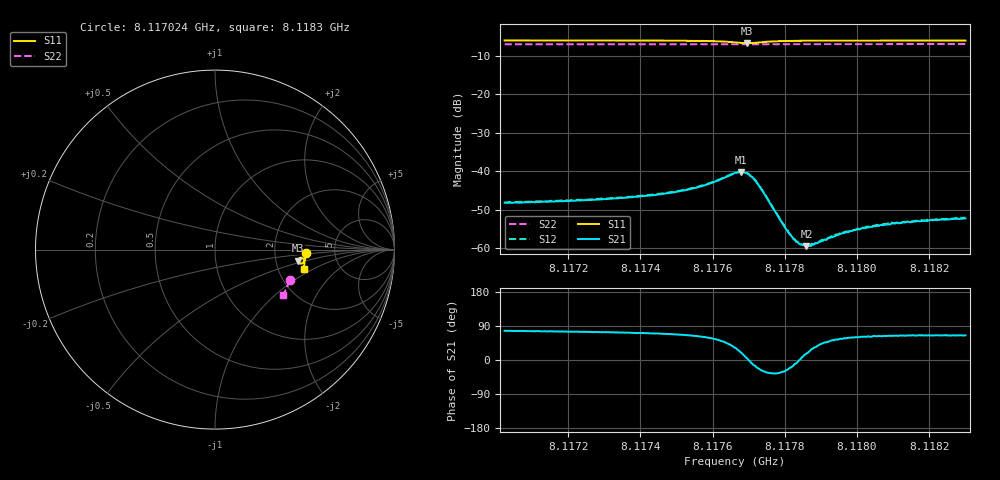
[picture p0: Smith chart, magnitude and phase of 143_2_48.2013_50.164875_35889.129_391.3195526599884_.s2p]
#  HZ  S  RI  R  50.00
! Rohde & Schwarz Vector Network Analyzer
! Rohde-Schwarz,ZNB20-2Port,1311601062101988,3.16
! Created: UTC 3/20/2024, 11:42:29 AM
! freq[Hz]  re:S11  im:S11  re:S21  im:S21  re:S12  im:S12  re:S22  im:S22
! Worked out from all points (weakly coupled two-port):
!   401 points, 8.117024 GHz to 8.1183 GHz, reference 50 ohm
!   highest |S21| = -40.23 dB at 8.117678 GHz (marker M1); lowest = -59.6 dB at 8.11786 GHz (marker M2)
!   lowest |S11| = -6.6 dB at 8.117694 GHz (marker M3), VSWR 2.74, Z = 133 - j20.8 ohm
!   |S11| at or under -10 dB: nowhere
!   |S22| runs from -6.9 to -6.9 dB; largest |S21 - S12| = 0.00029
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8.1170243e9  0.5058 -0.019  0.000874 0.00378  0.000923 0.00382  0.4171 -0.1711
8.117238e9  0.5043 -0.0363  0.00112 0.00402  0.00119 0.00406  0.4116 -0.185
8.117356e9  0.5029 -0.0463  0.00139 0.00429  0.00146 0.00432  0.4084 -0.1928
8.1174517e9  0.5011 -0.0555  0.00174 0.00467  0.0018 0.00477  0.4056 -0.199
8.1174996e9  0.4994 -0.0605  0.00206 0.00498  0.00212 0.00505  0.4044 -0.2021
8.1175602e9  0.4959 -0.0681  0.00284 0.0055  0.00295 0.00559  0.4025 -0.2059
8.1176016e9  0.4907 -0.074  0.00398 0.00595  0.00407 0.00601  0.401 -0.2085
8.1176622e9  0.4714 -0.0768  0.00808 0.0051  0.00814 0.00505  0.3983 -0.2122
8.1176782e9  0.4645 -0.071  0.00912 0.00342  0.00934 0.0033  0.3975 -0.2129
8.1176941e9  0.4616 -0.0611  0.00946 0.000912  0.00954 0.000758  0.3974 -0.2132
8.1177133e9  0.4667 -0.0496  0.00783 -0.00182  0.00791 -0.00177  0.397 -0.214
8.117726e9  0.4734 -0.0459  0.00631 -0.00247  0.00629 -0.00257  0.3968 -0.2146
8.117793e9  0.4941 -0.0541  0.0018 -0.0011  0.00183 -0.00112  0.3957 -0.2192
8.1178185e9  0.4963 -0.0586  0.00134 -0.000457  0.00137 -0.000471  0.3951 -0.221
8.1178408e9  0.4975 -0.0622  0.00113 5.21e-06  0.00113 -9.15e-06  0.3945 -0.2223
8.11786e9  0.498 -0.0649  0.00101 0.000311  0.00104 0.000319  0.3939 -0.2238
8.1178759e9  0.4983 -0.067  0.000978 0.000556  0.00101 0.000533  0.3932 -0.2249
8.1179621e9  0.4984 -0.0767  0.000868 0.0013  0.000909 0.00133  0.3905 -0.2302
8.1180322e9  0.4977 -0.0835  0.000853 0.00164  0.000922 0.00167  0.3882 -0.2346
8.1180896e9  0.4971 -0.0885  0.000887 0.0018  0.00092 0.00185  0.3863 -0.2381
8.1181343e9  0.4964 -0.0923  0.000949 0.00194  0.00097 0.00194  0.3846 -0.2409
8.1183002e9  0.4938 -0.1054  0.00102 0.0022  0.00104 0.00226  0.3788 -0.2509
